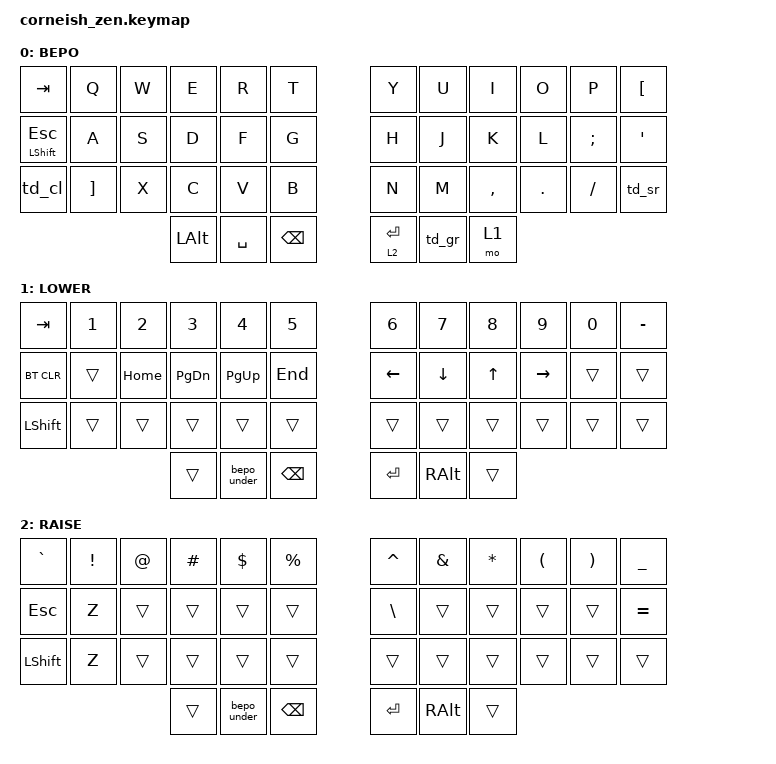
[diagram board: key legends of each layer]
#include <behaviors.dtsi>
#include <dt-bindings/zmk/keys.h>
#include <dt-bindings/zmk/bt.h>

/ {
  chosen {
    zmk,matrix_transform = &default_transform;
    //zmk,matrix_transform = &five_column_transform;
  };
};

/ {
    macros {
        bepo_under: bepo_under {
            compatible = "zmk,behavior-macro";
            #binding-cells = <0>;
            bindings
                = <&macro_press &kp RALT>
                , <&macro_tap &kp SPACE>
                , <&macro_release &kp RALT>
                ;
        };
    };
};

/* Key index for combo
 0  1  2  3  4  5    6  7  8  9 10 11
12 13 14 15 16 17   18 19 20 21 22 23
24 25 26 27 28 29   30 31 32 33 34 35
         36 37 38   39 40 41     */

#define COMBO(name, keypress, keypos) \
combo_##name {                        \
	timeout-ms = <40>;            \
	bindings = <keypress>;        \
	key-positions = <keypos>;     \
};

/ {
    combos {
      compatible = "zmk,combos";
      // left hand
      COMBO(delete, &kp DELETE, 15 16)
      COMBO(enter_left, &kp RET, 13 16)
      // right hand
      COMBO(w, &kp RBKT, 6 22)
      COMBO(windows, &kp LGUI, 30 22)
      // left and right hand
      COMBO(BT1, &bt BT_SEL 0, 1 30)
      COMBO(BT2, &bt BT_SEL 1, 2 30)
      COMBO(BT3, &bt BT_SEL 2, 3 30)
      COMBO(BT4, &bt BT_SEL 3, 4 30)
      COMBO(F1, &kp F1, 1 34)
      COMBO(F2, &kp F2, 2 34)
      COMBO(F3, &kp F3, 3 34)
      COMBO(F4, &kp F4, 4 34)
      COMBO(F5, &kp F5, 5 34)
      COMBO(F6, &kp F6, 6 34)
      COMBO(F7, &kp F7, 7 34)
      COMBO(F8, &kp F8, 8 34)
      COMBO(F9, &kp F9, 9 34)
      COMBO(F10, &kp F10, 10 34)
      COMBO(F11, &kp F11, 11 34)
      COMBO(UNDER1, &bepo_under, 39 37)
      COMBO(UNDER2, &bepo_under, 40 37)
    };
  };

/ {

    behaviors {
        td_cl: tap_dance_shift_left {
            compatible = "zmk,behavior-tap-dance";
            label = "TAP_DANCE_shift_left";
            #binding-cells = <0>;
            tapping-term-ms = <200>;
            bindings = <&kp LCTRL>, <&kp LSHFT>;
        };
        td_sr: tap_dance_shift_right {
            compatible = "zmk,behavior-tap-dance";
            label = "TAP_DANCE_shift_right";
            #binding-cells = <0>;
            tapping-term-ms = <200>;
            bindings = <&kp RSHIFT>, <&kp RCTRL>;
        };
        td_gr: tap_dance_gui_right {
            compatible = "zmk,behavior-tap-dance";
            label = "TAP_DANCE_right_alt";
            #binding-cells = <0>;
            tapping-term-ms = <200>;
            bindings = <&kp RALT>, <&kp RGUI>;
        };
    };
        keymap {
                compatible = "zmk,keymap";

                default_layer {
                        label = "BEPO";
// -----------------------------------------------------------------------------------------
// | TAB   |  B  |  É  |  P  |  O  |  È   |    |  ^    |  V  |  D  |  L  |  J  |  Z   |
// |ESC&CTR|  A  |  U  |  I  |  E  |  ;   |    |  C    |  T  |  S  |  R  |  N  |  M   |
// | SHFT  |  w  |  Y  |  X  |  :  |  K   |    |  ?    |  Q  |  G  |  H  |  F  | SHFT |
//                     | ALT | SPC | PKSP |    |ENT&RSE|RALT | LWR |
                        bindings = <
   &kp TAB       &kp Q    &kp W &kp E    &kp R     &kp T    &kp Y  &kp U     &kp I     &kp O   &kp P    &kp LBKT
   &mt LSHIFT ESC &kp A    &kp S &kp D    &kp F     &kp G    &kp H  &kp J     &kp K     &kp L   &kp SEMI &kp SQT
   &td_cl        &kp RBKT &kp X &kp C    &kp V     &kp B    &kp N  &kp M     &kp COMMA &kp DOT &kp FSLH &td_sr
                                &kp LALT &kp SPACE &kp BSPC &lt 2 RET &td_gr &mo 1
                        >;
                };
                lower_layer {
                        label = "LOWER";
// -----------------------------------------------------------------------------------------
// | TAB  |  "  |  «  |  »  |  (   |  )  |   |  @  |  +  |  -  |  /  |  *  |  =   |
// | BTCLR|     |HOME |PGDWN| PGUP | END |   | LFT | DWN |  UP | RGT |     |      |
// | SHFT |     |     |     |      |     |   |     |     |     |     |     |      |
//                    |     | SPC  | PKSP|   |RALT | ENT |     |
                        bindings = <
   &kp TAB    &kp N1   &kp N2   &kp N3    &kp N4    &kp N5   &kp N6   &kp N7  &kp N8    &kp N9  &kp N0   &kp MINUS
   &bt BT_CLR &trans   &kp HOME &kp PG_DN &kp PG_UP &kp END  &kp LEFT &kp DOWN &kp UP  &kp RIGHT &trans  &trans
   &kp LSHFT  &trans   &trans   &trans    &trans    &trans   &trans   &trans   &trans  &trans    &trans  &trans
                  &trans &bepo_under &kp BSPC   &kp RET &kp RALT &trans
                        >;
                };

                raise_layer {
                        label = "RAISE";
// -----------------------------------------------------------------------------------------
// | $    |  1  |  2  |  3  |  4   |  5  |   |  6  |  7  |  8  |  9  |  0  |  °   |
// | ESC  |  à  |     |     |      |     |   |  ç  |     |     |     |     |  %   |
// | SHFT |  à  |     |     |      |     |   |     |     |     |     |     |      |
//                    |     | SPC  | PKSP|   | RALT| ENT |     |
                        bindings = <
   &kp GRAVE &kp EXCL &kp AT &kp HASH &kp DLLR  &kp PRCNT &kp CARET &kp AMPS &kp STAR &kp LPAR &kp RPAR &kp UNDER
   &kp ESC   &kp Z    &trans &trans   &trans    &trans    &kp BSLH  &trans   &trans   &trans   &trans   &kp EQUAL
   &kp LSHFT &kp Z    &trans &trans   &trans    &trans    &trans    &trans   &trans   &trans   &trans   &trans
                       &trans &bepo_under &kp BSPC   &kp RET &kp RALT &trans
                        >;
                };
        };
};
